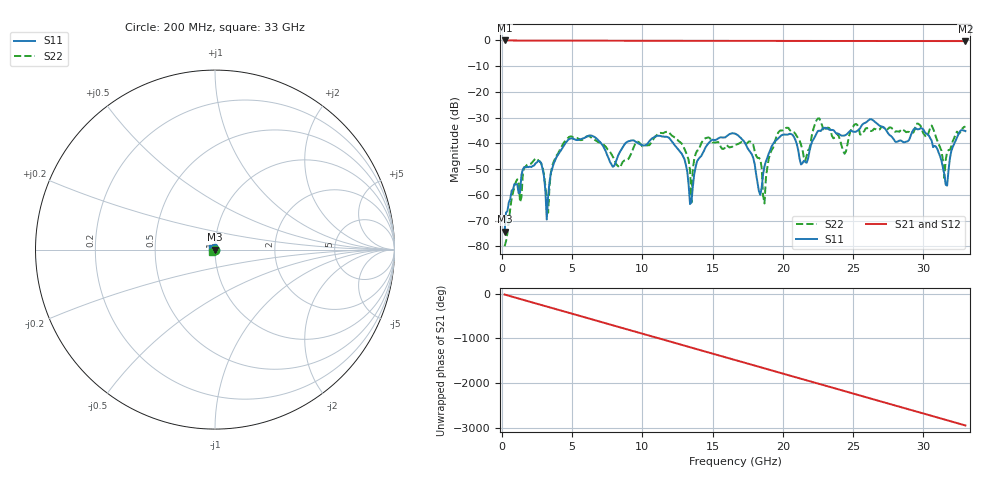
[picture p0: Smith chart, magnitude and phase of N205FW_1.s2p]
# GHZ S RI R 50
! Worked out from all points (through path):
!   329 points, 200 MHz to 33 GHz, reference 50 ohm
!   highest |S21| = -0.02 dB at 200 MHz (marker M1); lowest = -0.3 dB at 33 GHz (marker M2)
!   group delay of S21, straight-line fit = 248 ps
!   lowest |S11| = -74.2 dB at 200 MHz (marker M3), VSWR 1.00, Z = 50 + j0.00128 ohm
!   |S11| at or under -10 dB: start of sweep to end of sweep
!   |S22| runs from -79.9 to -30.3 dB; largest |S21 - S12| = 0.0022
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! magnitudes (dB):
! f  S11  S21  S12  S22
! 200 MHz  -74.2  0.0  0.0  -79.9
! 1.6 GHz  -49.2  -0.1  -0.1  -49.4
! 2.8 GHz  -47.6  -0.1  -0.1  -47.7
! 3.2 GHz  -69.6  -0.1  -0.1  -62.4
! 3.8 GHz  -46.5  -0.1  -0.1  -45.8
! 5.7 GHz  -38.2  -0.1  -0.1  -38.7
! 8.4 GHz  -43.4  -0.1  -0.1  -49.4
! 11.2 GHz  -37.1  -0.1  -0.1  -36.0
! 13 GHz  -46.0  -0.2  -0.2  -42.1
! 13.4 GHz  -63.6  -0.2  -0.2  -50.5
! 13.5 GHz  -62.8  -0.2  -0.2  -63.0
! 14.4 GHz  -42.8  -0.2  -0.2  -38.3
! 16.6 GHz  -36.2  -0.2  -0.2  -40.6
! 17.9 GHz  -45.7  -0.2  -0.2  -40.6
! 18.4 GHz  -60.0  -0.2  -0.2  -46.0
! 18.7 GHz  -48.9  -0.2  -0.2  -63.3
! 19.7 GHz  -37.9  -0.2  -0.2  -35.6
! 22.1 GHz  -39.2  -0.2  -0.2  -35.9
! 27.6 GHz  -36.8  -0.2  -0.2  -33.7
! 30 GHz  -34.5  -0.2  -0.2  -36.0
! 31.7 GHz  -56.4  -0.3  -0.3  -43.4
! 33 GHz  -35.2  -0.3  -0.3  -33.4
